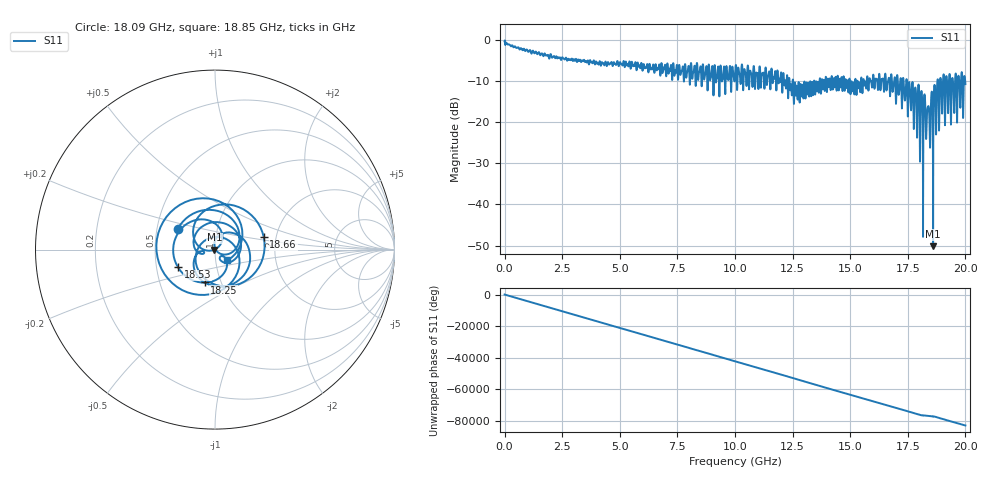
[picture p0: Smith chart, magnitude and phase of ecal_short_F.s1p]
! MS46122B
! 2250307/22442219
! 6/18/2025 1:21:24 PM
! C:\USERS\SPARKY\DOCUMENTS\VNA_DATA\JUNE18_2025\295K\ECAL_SHORT_F.S1P
! CHANNEL.1
! TR.MEASUREMENT
! RAW.DATA
# GHZ S RI R 50.0
! FREQ.GHZ  S11RE  S11IM
!; PortSelection: Port_1
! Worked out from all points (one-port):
!   10001 points, 1 MHz to 20 GHz, reference 50 ohm
!   lowest |S11| = -50.1 dB at 18.6 GHz (marker M1), VSWR 1.01, Z = 49.7 - j0.0426 ohm
!   |S11| at or under -10 dB: 12.52 GHz to 13.43 GHz (910.5 MHz wide, 7.02 % of centre); 13.44 GHz to 13.67 GHz (232.9 MHz wide, 1.72 % of centre); 17.46 GHz to 18.79 GHz (1.328 GHz wide, 7.33 % of centre) (the widest 3 of 79)
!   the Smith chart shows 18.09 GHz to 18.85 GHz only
!   S11 on the Smith chart (normalised r, x): 18.09 GHz: 0.64, +0.16; 18.25 GHz: 0.84, -0.32; 18.53 GHz: 0.65, -0.14; 18.66 GHz: 1.72, +0.26; 18.85 GHz: 1.14, -0.14
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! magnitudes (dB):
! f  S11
! 1 MHz  -0.4
! 2.501 GHz  -4.3
! 5.001 GHz  -5.5
! 7.501 GHz  -7.1
! 10 GHz  -8.9
! 11.66 GHz  -9.3
! 12.5 GHz  -10.1
! 15 GHz  -12.2
! 16.33 GHz  -10.8
! 17.5 GHz  -18.6
! 17.77 GHz  -19.3
! 17.83 GHz  -11.7
! 17.9 GHz  -23.5
! 17.96 GHz  -10.9
! 18.03 GHz  -28.5
! 18.09 GHz  -12.5
! 18.16 GHz  -36.9
! 18.25 GHz  -14.3
! 18.29 GHz  -24.0
! 18.53 GHz  -12.8
! 18.6 GHz  -50.1
! 18.66 GHz  -11.0
! 18.72 GHz  -21.5
! 18.79 GHz  -9.8
! 18.85 GHz  -20.8
! 19.25 GHz  -17.7
! 19.45 GHz  -9.5
! 20 GHz  -10.8
